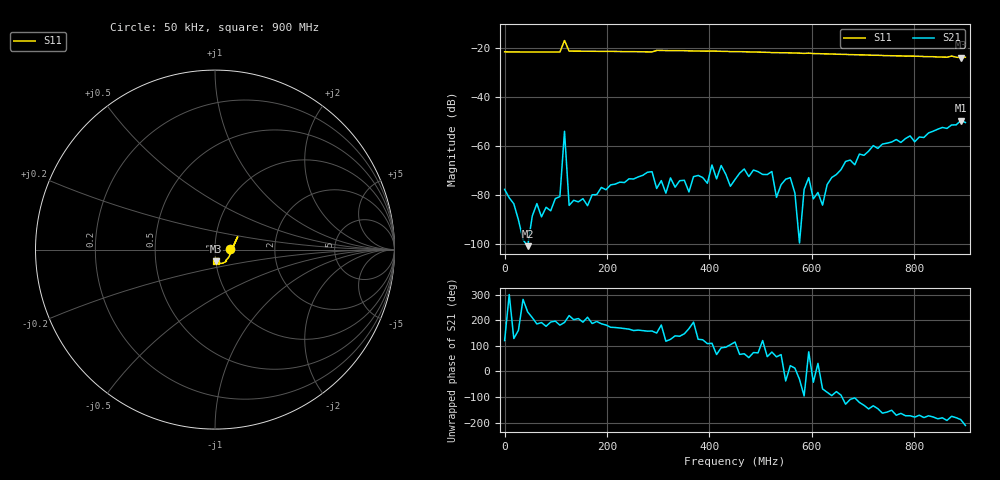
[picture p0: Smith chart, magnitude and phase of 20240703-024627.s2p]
# HZ S RI R 50
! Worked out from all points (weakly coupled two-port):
!   101 points, 50 kHz to 900 MHz, reference 50 ohm
!   highest |S21| = -49.57 dB at 891 MHz (marker M1); lowest = -101.0 dB at 45.05 MHz (marker M2)
!   lowest |S11| = -23.8 dB at 891 MHz (marker M3), VSWR 1.14, Z = 50.1 - j6.47 ohm
!   |S11| at or under -10 dB: start of sweep to end of sweep
!   S12 and S22 are empty: the file has one direction only
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50000  0.0849 0.000894  -6.64e-05 0.000111  0 0  0 0
4.50475e7  0.0837 -0.0107  -5.38e-06 -7.08e-06  0 0  0 0
1.08044e8  0.0801 -0.025  -9.23e-05 -1.57e-06  0 0  0 0
1.170435e8  0.1262 0.0715  -0.00196 -0.000402  0 0  0 0
1.26043e8  0.0824 -0.03  -4.77e-05 -3.78e-05  0 0  0 0
1.530415e8  0.0797 -0.0358  -8.14e-05 -1.81e-05  0 0  0 0
3.06033e8  0.0625 -0.0654  -0.000195 -5.32e-06  0 0  0 0
3.6003e8  0.0538 -0.0708  -0.000112 2.55e-05  0 0  0 0
3.690295e8  0.0522 -0.0715  -0.00023 -5.24e-05  0 0  0 0
3.96028e8  0.0478 -0.0734  -5.57e-05 0.000164  0 0  0 0
4.050275e8  0.0463 -0.0746  -0.000141 0.000384  0 0  0 0
4.50025e8  0.0397 -0.0761  -8.73e-05 0.000186  0 0  0 0
5.22021e8  0.0295 -0.0764  7.26e-05 0.000291  0 0  0 0
5.310205e8  0.029 -0.0764  4.83e-05 7.47e-05  0 0  0 0
5.58019e8  0.026 -0.0765  0.000208 8.71e-05  0 0  0 0
5.76018e8  0.0244 -0.0759  8.87e-06 -5.27e-06  0 0  0 0
5.94017e8  0.0225 -0.0765  5.13e-05 0.000219  0 0  0 0
6.030165e8  0.0219 -0.0753  6.13e-05 -5.55e-05  0 0  0 0
6.66013e8  0.0168 -0.0732  -0.000296 -0.000382  0 0  0 0
7.56008e8  0.0115 -0.0696  -0.00106 -0.000575  0 0  0 0
8.910005e8  0.00564 -0.0642  -0.00329 0.00046  0 0  0 0
9e8  0.00597 -0.0655  -0.0026 0.00155  0 0  0 0
